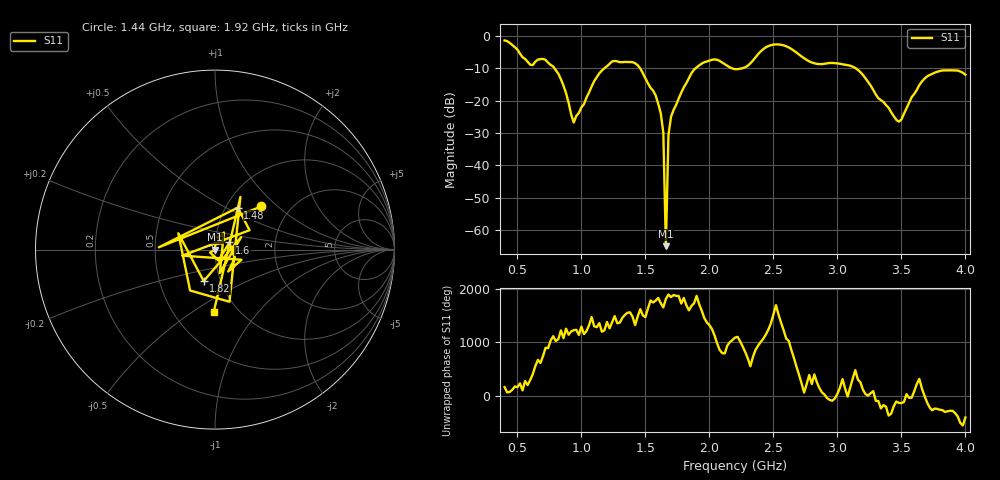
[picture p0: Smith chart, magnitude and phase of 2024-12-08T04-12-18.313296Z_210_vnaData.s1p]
!Created with skrf (http://scikit-rf.org).
# Hz S RI R 50.0
!freq ReS11 ImS11
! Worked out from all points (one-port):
!   181 points, 400 MHz to 4 GHz, reference 50 ohm
!   lowest |S11| = -65.0 dB at 1.66 GHz (marker M1), VSWR 1.00, Z = 50.1 + j0.00658 ohm
!   |S11| at or under -10 dB: 789.6 MHz to 1.179 GHz (389.8 MHz wide, 39.6 % of centre); 1.458 GHz to 1.892 GHz (433.7 MHz wide, 25.9 % of centre); 3.143 GHz to end of sweep (the widest 3 of 4)
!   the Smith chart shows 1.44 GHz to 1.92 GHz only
!   S11 on the Smith chart (normalised r, x): 1.44 GHz: 1.44, +0.79; 1.48 GHz: 1.14, +0.57; 1.6 GHz: 1.17, +0.09; 1.82 GHz: 0.83, -0.30; 1.92 GHz: 0.77, -0.62
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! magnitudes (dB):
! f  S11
! 400 MHz  -1.4
! 600 MHz  -8.9
! 720 MHz  -7.4
! 860 MHz  -15.4
! 940 MHz  -26.8
! 1.14 GHz  -11.6
! 1.3 GHz  -8.1
! 1.44 GHz  -9.0
! 1.48 GHz  -11.5
! 1.6 GHz  -20.9
! 1.64 GHz  -29.9
! 1.66 GHz  -65.0
! 1.68 GHz  -30.7
! 1.7 GHz  -25.0
! 1.76 GHz  -19.4
! 1.82 GHz  -14.6
! 1.92 GHz  -9.1
! 2.04 GHz  -7.2
! 2.2 GHz  -10.3
! 2.48 GHz  -2.8
! 2.66 GHz  -4.5
! 2.82 GHz  -8.4
! 3.1 GHz  -9.2
! 3.2 GHz  -12.1
! 3.48 GHz  -26.5
! 3.56 GHz  -20.7
! 3.72 GHz  -12.1
! 4 GHz  -12.0
